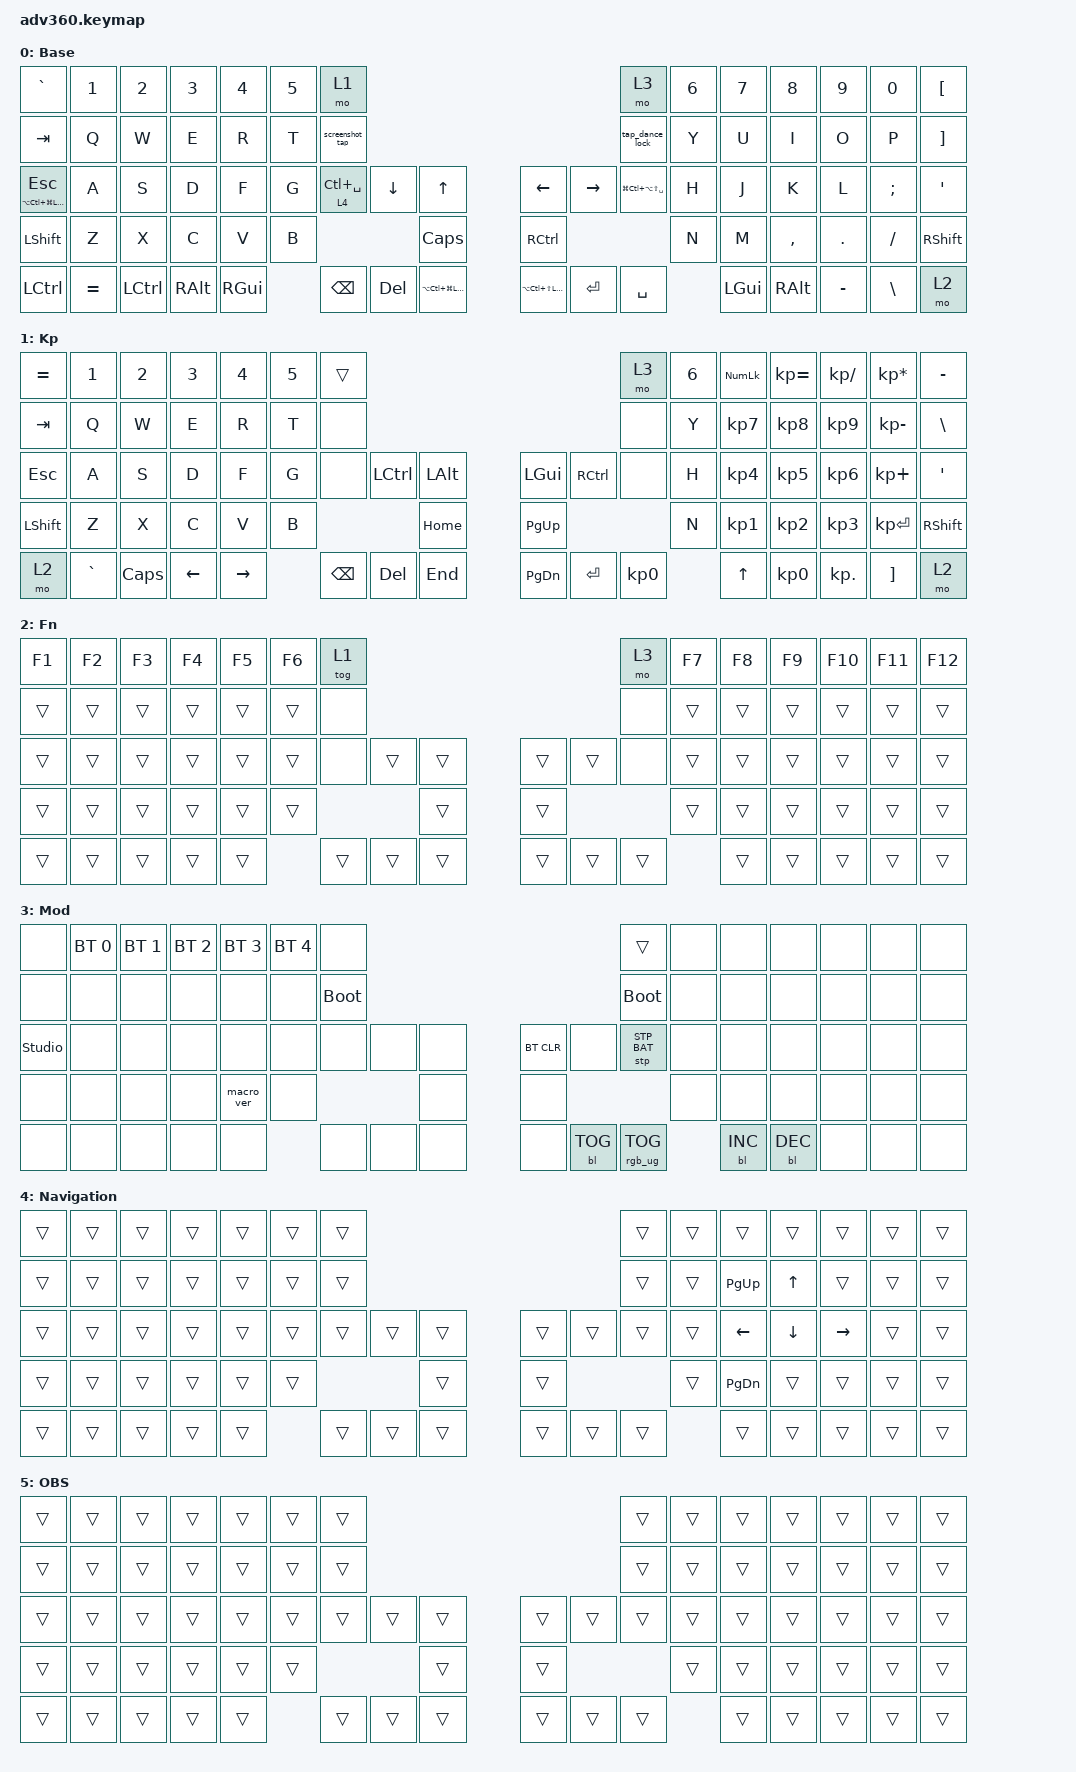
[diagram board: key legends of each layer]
#include <dt-bindings/zmk/stp.h>
#include <behaviors.dtsi>
#include <dt-bindings/zmk/backlight.h>
#include <dt-bindings/zmk/bt.h>
#include <dt-bindings/zmk/keys.h>
#include <dt-bindings/zmk/rgb.h>

/ {
    behaviors {
        #include "macros.dtsi"
      #include "version.dtsi"

        hm: homerow_mods {
            compatible = "zmk,behavior-hold-tap";
            label = "HOMEROW_MODS";
            #binding-cells = <2>;
            tapping-term-ms = <200>;
            quick_tap_ms = <175>;
            flavor = "tap-preferred";
            bindings = <&kp>, <&kp>;
        };

        tap_dance_lock: tap_dance_lock {
            compatible = "zmk,behavior-tap-dance";
            label = "TAP_DANCE_LOCK";
            #binding-cells = <0>;
            bindings = <&kp LC(SPACE)>, <&kp LG(LC(Q))>;

            tapping-term-ms = <200>;
        };

        nav_tap: nav_tap {
            compatible = "zmk,behavior-hold-tap";
            label = "NAV_TAP";
            bindings = <&mo>, <&kp>;

            #binding-cells = <2>;
            flavor = "hold-preferred";
            tapping-term-ms = <200>;
            hold-while-undecided;
        };

        tapdance_tmux: tapdance_tmux {
            compatible = "zmk,behavior-tap-dance";
            label = "TAPDANCE_TMUX";
            #binding-cells = <0>;
            bindings = <&kp LC(SPACE)>, <&kp LG(LS(NUMBER_4))>;
        };

        screenshot_tap: screenshot_tap {
            compatible = "zmk,behavior-tap-dance";
            label = "SCREENSHOT_TAP";
            #binding-cells = <0>;
            bindings = <&kp LG(LS(NUMBER_2))>, <&kp LG(LS(NUMBER_4))>;
        };

        ctrl_hold: ctrl_hold {
            compatible = "zmk,behavior-hold-tap";
            label = "CTRL_HOLD";
            bindings = <&kp>, <&kp>;

            #binding-cells = <2>;
            tapping-term-ms = <200>;
            flavor = "balanced";
        };
    };

    macros {
        tmux_bind: tmux_bind {
            compatible = "zmk,behavior-macro";
            #binding-cells = <0>;
            bindings = <&none>;
            label = "TMUX_BIND";
        };
    };

    keymap {
        compatible = "zmk,keymap";

        default_layer {
            display-name = "Base";
            bindings = <
&kp GRAVE                          &kp N1     &kp N2     &kp N3         &kp N4         &kp N5  &mo 1                                                                                                            &mo 3                      &kp N6  &kp N7        &kp N8         &kp N9     &kp N0         &kp LEFT_BRACKET
&kp TAB                            &kp Q      &kp W      &kp E          &kp R          &kp T   &screenshot_tap                                                                                                  &tap_dance_lock            &kp Y   &kp U         &kp I          &kp O      &kp P          &kp RIGHT_BRACKET
&hm LA(LC(LG(LEFT_SHIFT))) ESCAPE  &kp A      &kp S      &kp D          &kp F          &kp G   &nav_tap 4 LC(SPACE)  &kp DOWN_ARROW  &kp UP_ARROW                    &kp LEFT_ARROW            &kp RIGHT_ARROW  &kp LG(LC(LA(LS(SPACE))))  &kp H   &kp J         &kp K          &kp L      &kp SEMI       &kp SQT
&kp LSHFT                          &kp Z      &kp X      &kp C          &kp V          &kp B                                         &kp CAPS                        &kp RIGHT_CONTROL                                                     &kp N   &kp M         &kp COMMA      &kp DOT    &kp FSLH       &kp RSHFT
&kp LCTRL                          &kp EQUAL  &kp LCTRL  &kp RIGHT_ALT  &kp RIGHT_GUI          &kp BSPC              &kp DEL         &kp LA(LC(LG(LEFT_SHIFT)))      &kp LA(LC(LS(LEFT_GUI)))  &kp ENTER        &kp SPACE                          &kp LEFT_GUI  &kp RIGHT_ALT  &kp MINUS  &kp BACKSLASH  &mo 2
            >;
        };

        keypad {
            display-name = "Kp";
            bindings = <
&kp EQUAL  &kp N1     &kp N2    &kp N3    &kp N4     &kp N5  &trans                                                   &mo 3      &kp N6  &kp KP_NUM  &kp KP_EQUAL     &kp KP_DIVIDE  &kp KP_MULTIPLY  &kp MINUS
&kp TAB    &kp Q      &kp W     &kp E     &kp R      &kp T   &none                                                    &none      &kp Y   &kp KP_N7   &kp KP_N8        &kp KP_N9      &kp KP_MINUS     &kp BSLH
&kp ESC    &kp A      &kp S     &kp D     &kp F      &kp G   &none     &kp LCTRL  &kp LALT      &kp LGUI   &kp RCTRL  &none      &kp H   &kp KP_N4   &kp KP_N5        &kp KP_N6      &kp KP_PLUS      &kp SQT
&kp LSHFT  &kp Z      &kp X     &kp C     &kp V      &kp B                        &kp HOME      &kp PG_UP                        &kp N   &kp KP_N1   &kp KP_N2        &kp KP_N3      &kp KP_ENTER     &kp RSHFT
&mo 2      &kp GRAVE  &kp CAPS  &kp LEFT  &kp RIGHT          &kp BSPC  &kp DEL    &kp END       &kp PG_DN  &kp ENTER  &kp KP_N0          &kp UP      &kp KP_NUMBER_0  &kp KP_DOT     &kp RBKT         &mo 2
            >;
        };

        fn {
            display-name = "Fn";
            bindings = <
&kp F1  &kp F2  &kp F3  &kp F4  &kp F5  &kp F6  &tog 1                                      &mo 3   &kp F7  &kp F8  &kp F9  &kp F10  &kp F11  &kp F12
&trans  &trans  &trans  &trans  &trans  &trans  &none                                       &none   &trans  &trans  &trans  &trans   &trans   &trans
&trans  &trans  &trans  &trans  &trans  &trans  &none   &trans  &trans      &trans  &trans  &none   &trans  &trans  &trans  &trans   &trans   &trans
&trans  &trans  &trans  &trans  &trans  &trans                  &trans      &trans                  &trans  &trans  &trans  &trans   &trans   &trans
&trans  &trans  &trans  &trans  &trans          &trans  &trans  &trans      &trans  &trans  &trans          &trans  &trans  &trans   &trans   &trans
            >;
        };

        mod {
            display-name = "Mod";
            bindings = <
&none           &bt BT_SEL 0  &bt BT_SEL 1  &bt BT_SEL 2  &bt BT_SEL 3  &bt BT_SEL 4  &none                                                  &trans           &none  &none       &none       &none  &none  &none
&none           &none         &none         &none         &none         &none         &bootloader                                            &bootloader      &none  &none       &none       &none  &none  &none
&studio_unlock  &none         &none         &none         &none         &none         &none        &none  &none      &bt BT_CLR  &none       &stp STP_BAT     &none  &none       &none       &none  &none  &none
&none           &none         &none         &none         &macro_ver    &none                             &none      &none                                    &none  &none       &none       &none  &none  &none
&none           &none         &none         &none         &none                       &none        &none  &none      &none       &bl BL_TOG  &rgb_ug RGB_TOG         &bl BL_INC  &bl BL_DEC  &none  &none  &none
            >;
        };

        nav {
            bindings = <
&trans  &trans  &trans  &trans  &trans  &trans  &trans                                      &trans  &trans  &trans          &trans          &trans           &trans  &trans
&trans  &trans  &trans  &trans  &trans  &trans  &trans                                      &trans  &trans  &kp PAGE_UP     &kp UP_ARROW    &trans           &trans  &trans
&trans  &trans  &trans  &trans  &trans  &trans  &trans  &trans  &trans      &trans  &trans  &trans  &trans  &kp LEFT_ARROW  &kp DOWN_ARROW  &kp RIGHT_ARROW  &trans  &trans
&trans  &trans  &trans  &trans  &trans  &trans                  &trans      &trans                  &trans  &kp PAGE_DOWN   &trans          &trans           &trans  &trans
&trans  &trans  &trans  &trans  &trans          &trans  &trans  &trans      &trans  &trans  &trans          &trans          &trans          &trans           &trans  &trans
            >;

            label = "Navigation";
        };

        OBS {
            bindings = <
&trans  &trans  &trans  &trans  &trans  &trans  &trans                                      &trans  &trans  &trans  &trans  &trans  &trans  &trans
&trans  &trans  &trans  &trans  &trans  &trans  &trans                                      &trans  &trans  &trans  &trans  &trans  &trans  &trans
&trans  &trans  &trans  &trans  &trans  &trans  &trans  &trans  &trans      &trans  &trans  &trans  &trans  &trans  &trans  &trans  &trans  &trans
&trans  &trans  &trans  &trans  &trans  &trans                  &trans      &trans                  &trans  &trans  &trans  &trans  &trans  &trans
&trans  &trans  &trans  &trans  &trans          &trans  &trans  &trans      &trans  &trans  &trans          &trans  &trans  &trans  &trans  &trans
            >;
        };
    };
};
